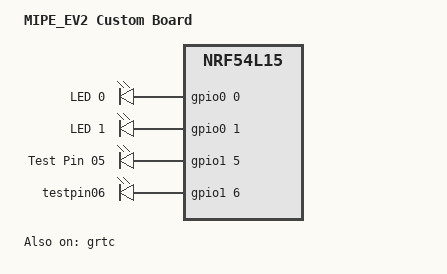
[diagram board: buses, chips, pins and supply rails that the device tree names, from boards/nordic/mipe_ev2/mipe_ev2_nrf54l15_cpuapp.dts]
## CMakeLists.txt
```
cmake_minimum_required(VERSION 3.20.0)

find_package(Zephyr REQUIRED HINTS $ENV{ZEPHYR_BASE})
project(mipe_ev2)

target_sources(app PRIVATE src/main.c)
```

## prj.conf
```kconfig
# MIPE_EV2 - Proven Configuration
CONFIG_BUILD_WITH_TFM=n
CONFIG_NRF_SECURITY=n
CONFIG_GPIO=y
CONFIG_SYS_CLOCK_EXISTS=y
CONFIG_TICKLESS_KERNEL=y
CONFIG_NRF_GRTC_TIMER=y
CONFIG_WATCHDOG=n
CONFIG_WDT_DISABLE_AT_BOOT=y
CONFIG_WDT_NRFX=n
CONFIG_PM=n
CONFIG_PM_DEVICE=n
CONFIG_KERNEL_INIT_PRIORITY_DEFAULT=50
```

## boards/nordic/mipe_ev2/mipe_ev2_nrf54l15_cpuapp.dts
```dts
/*
 * MIPE_EV2 Device Tree
 */

/dts-v1/;

#include <nordic/nrf54l15_cpuapp.dtsi>

/ {
    model = "MIPE_EV2 Custom Board";
    compatible = "mipe,mipe-ev2";

    chosen {
        zephyr,sram = &cpuapp_sram;
        zephyr,flash = &cpuapp_rram;
        zephyr,code-partition = &slot0_partition;
    };

    leds {
        compatible = "gpio-leds";
        led0: led_0 {
            gpios = <&gpio0 0 GPIO_ACTIVE_HIGH>;
            label = "LED 0";
        };
        led1: led_1 {
            gpios = <&gpio0 1 GPIO_ACTIVE_HIGH>;
            label = "LED 1";
        };
    };

    test_pins {
        compatible = "gpio-leds";
        testpin05: test_pin_05 {
            gpios = <&gpio1 5 GPIO_ACTIVE_HIGH>;
            label = "Test Pin 05";
        };
        testpin06: test_pin_06 {
            gpios = <&gpio1 6 GPIO_ACTIVE_HIGH>;
        };
    };

    aliases {
        led0 = &led0;
        led1 = &led1;
        testpin05 = &testpin05;
        testpin06 = &testpin06;
    };
};

/* Enable GPIO ports */
&gpio0 {
    status = "okay";
};

&gpio1 {
    status = "okay";
};

/* Enable GPIOTE instances */
&gpiote20 {
    status = "okay";
};

&gpiote30 {
    status = "okay";
};

/* CRITICAL: Enable GRTC timer */
&grtc {
    owned-channels = <0>;
    status = "okay";
};

/* Include partition configuration */
#include <nordic/nrf54l15_partition.dtsi>
```

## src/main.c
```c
/**
 * MIPE_EV2 - GPIO Test
 * Based on proven MIPE_EV1 patterns (23ms timing)
 */

#include <zephyr/kernel.h>
#include <zephyr/device.h>
#include <zephyr/drivers/gpio.h>

/* LEDs on P0.00 and P0.01 */
static const struct gpio_dt_spec led0 = GPIO_DT_SPEC_GET(DT_ALIAS(led0), gpios);
static const struct gpio_dt_spec led1 = GPIO_DT_SPEC_GET(DT_ALIAS(led1), gpios);

/* Test pins on P1.05 and P1.06 */
static const struct gpio_dt_spec test_pin05 = GPIO_DT_SPEC_GET(DT_ALIAS(testpin05), gpios);
static const struct gpio_dt_spec test_pin06 = GPIO_DT_SPEC_GET(DT_ALIAS(testpin06), gpios);

int main(void)
{
    /* Configure pin directions - PROVEN pattern */
    gpio_pin_configure_dt(&led0, GPIO_OUTPUT);
    gpio_pin_configure_dt(&led1, GPIO_OUTPUT);
    gpio_pin_configure_dt(&test_pin05, GPIO_OUTPUT);
    gpio_pin_configure_dt(&test_pin06, GPIO_OUTPUT);

    /* Set initial states - all LOW */
    gpio_pin_set_dt(&led0, 0);
    gpio_pin_set_dt(&led1, 0);
    gpio_pin_set_dt(&test_pin05, 0);
    gpio_pin_set_dt(&test_pin06, 0);

    bool led_state = false;
    uint32_t counter = 0;
    const uint32_t toggle_threshold = 1000000;  /* Proven 23ms timing */
    
    while (1) {
        counter++;
        
        if (counter >= toggle_threshold) {
            led_state = !led_state;
            gpio_pin_set_dt(&led0, led_state ? 1 : 0);
            gpio_pin_set_dt(&led1, led_state ? 0 : 1);
            gpio_pin_set_dt(&test_pin05, led_state ? 1 : 0);
            gpio_pin_set_dt(&test_pin06, led_state ? 0 : 1);
            counter = 0;
        }
    }

    return 0;
}
```
